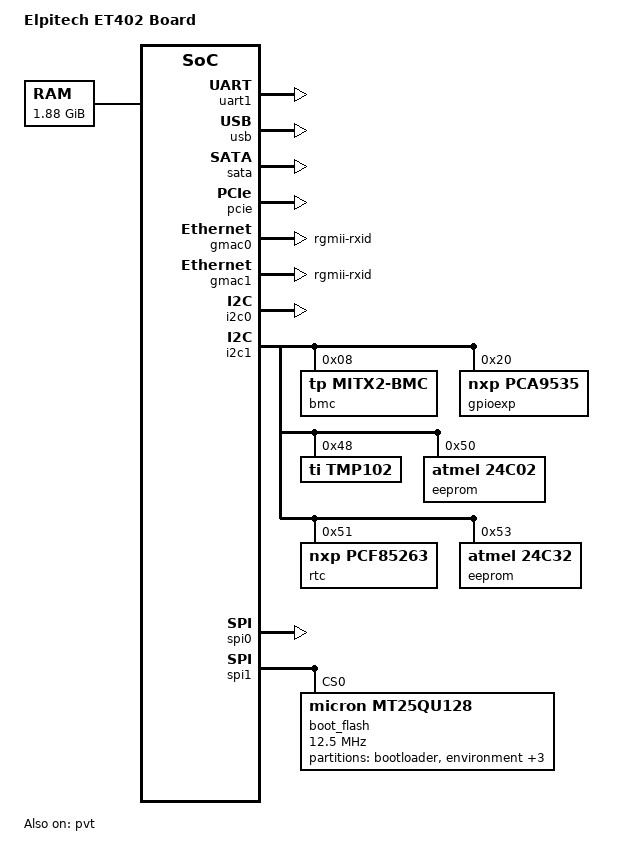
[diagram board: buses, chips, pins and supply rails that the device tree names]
/*
 * Elpitech Baikal-T ET402 board device tree.
 */

#include <dt-bindings/interrupt-controller/mips-gic.h>

/dts-v1/;

#include "baikal_t1_soc.dtsi"

/ {
	model = "Elpitech ET402 Board";
	compatible = "baikal,mips", "baikal,baikal-t1-soc";
	#address-cells = <2>;
	#size-cells = <2>;
	interrupt-parent = <&gic>;

	chosen {
		bootargs = "root=/dev/ram rw console=ttyS0,115200n8 earlyprintk=uart8250,mmio32,0x1F04A000,115200 nohtw";
		linux,initrd-start = <0 0x01000000>;
		linux,initrd-end   = <0 0x02000000>;
	};

	memory {
		device_type = "memory";
		reg = <0 0x00000000 0 0x08000000>,
		      <0 0x20000000 0 0x70000000>;
	};
};

&uart1 {
	status = "okay";
};

&usb {
	status = "okay";
};

&sata {
	status = "okay";
};

&pcie {
	status = "okay";
};

&gmac0 {
	status = "okay";
	phy-mode = "rgmii-rxid";
};

&gmac1 {
	status = "okay";
	phy-mode = "rgmii-rxid";
};

&gpio {
	status = "okay";
};

&gpio3 {
	status = "okay";
};

&i2c0 {
	status = "okay";
};

&i2c1 {
	status = "okay";

	bmc@8 {
		compatible = "tp,mitx2-bmc", "tp,bt-bmc";
		reg = <0x08>;
	};

	gpioexp: gpioexp@20 {
		compatible = "nxp,pca9535";
		reg = <0x20>;
	};

	tmp102@48 {
		compatible = "ti,tmp102";
		reg = <0x48>;
	};

	eeprom@50 {
		compatible = "atmel,24c02";
		pagesize = <16>;
		reg = <0x50>;
	};

	rtc@51 {
		compatible = "nxp,pcf85263";
		reg = <0x51>;
	};

	eeprom@53 {
		compatible = "atmel,24c32";
		pagesize = <32>;
		reg = <0x53>;
	};

};

&spi0 {
	status = "okay";
};

&spi1 {
	status = "okay";
	num-cs = <1>;
	spi-max-frequency = <25000000>;

	boot_flash: spi_flash@0 {
		#address-cells = <1>;
		#size-cells = <1>;
		reg = <0>;
		compatible = "micron,mt25qu128", "jedec,spi-nor";
		spi-max-frequency = <12500000>;
		m25p,fast-read;

		partition@0 {
			label = "bootloader";
			reg = <0x0 0xE0000>;
			read-only;
		};

		partition@1 {
			label = "environment";
			reg = <0xE0000 0x10000>;
		};

		partition@2 {
			label = "information";
			reg = <0xF0000 0x10000>;
			read-only;
		};

		partition@3 {
			label = "multiimage";
			reg = <0x100000 0xF00000>;
			read-only;
		};

		partition@4 {
			label = "firmware";
			reg = <0x0 0x1000000>;
		};
	};
};

&pvt {
	status = "okay";
};

